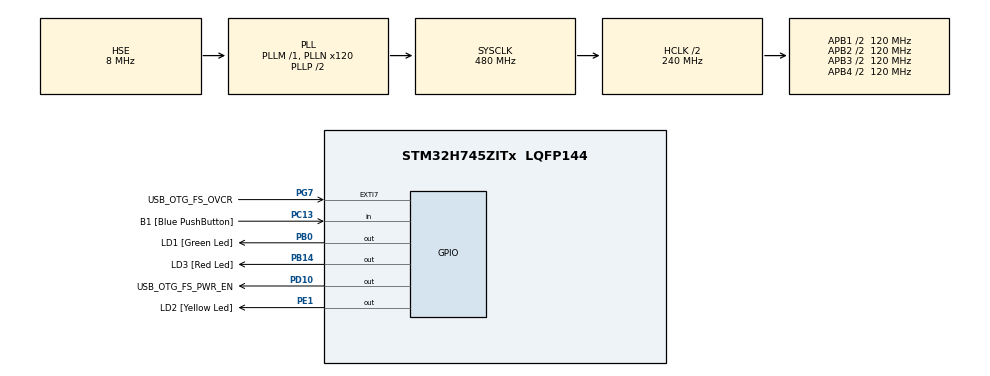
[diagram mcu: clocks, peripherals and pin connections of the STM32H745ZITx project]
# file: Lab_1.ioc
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CortexM4.IPs=FATFS_M4\:I,FREERTOS_M4\:I,IWDG2\:I,RCC,WWDG2\:I,DMA,BDMA,MDMA,NVIC2\:I,DEBUG,USB_DEVICE_M4\:I,USB_HOST_M4\:I,PDM2PCM_M4\:I,PWR,RESMGR_UTILITY,SYS_M4\:I,CORTEX_M4\:I,OPENAMP_M4\:I,VREFBUF,GPIO
CortexM7.IPs=FATFS_M7\:I,FREERTOS_M7\:I,IWDG1\:I,RCC\:I,WWDG1\:I,DMA\:I,BDMA\:I,MDMA\:I,NVIC1\:I,SYS\:I,CORTEX_M7\:I,DEBUG\:I,USB_DEVICE_M7\:I,USB_HOST_M7\:I,PDM2PCM_M7\:I,PWR\:I,RESMGR_UTILITY\:I,OPENAMP_M7\:I,VREFBUF\:I,GPIO\:I
CortexM7.Pins=PC13,PB0,PB14,PE1
Mcu.Family=STM32H7
Mcu.Name=STM32H745ZITx
Mcu.Package=LQFP144
NVIC1.PriorityGroup=NVIC_PRIORITYGROUP_4
NVIC2.PriorityGroup=NVIC_PRIORITYGROUP_4
PA1.PinAttribute=CortexM7
PA1.Signal=ETH_REF_CLK
PA11.PinAttribute=CortexM7
PA11.Signal=USB_OTG_FS_DM
PA12.PinAttribute=CortexM7
PA12.Signal=USB_OTG_FS_DP
PA2.PinAttribute=CortexM7
PA2.Signal=ETH_MDIO
PA7.PinAttribute=CortexM7
PA7.Signal=ETH_CRS_DV
PA8.PinAttribute=CortexM7
PA8.Signal=USB_OTG_FS_SOF
PA9.PinAttribute=CortexM7
PA9.Signal=USB_OTG_FS_VBUS
PB0.GPIO_Label=LD1 [Green Led]
PB0.GPIO_PuPd=GPIO_PULLUP
PB0.GPIO_Speed=GPIO_SPEED_FREQ_HIGH
PB0.PinAttribute=CortexM7
PB0.PinState=GPIO_PIN_RESET
PB0.Signal=GPIO_Output
PB13.PinAttribute=CortexM7
PB13.Signal=ETH_TXD1
PB14.GPIO_Label=LD3 [Red Led]
PB14.GPIO_PuPd=GPIO_PULLUP
PB14.GPIO_Speed=GPIO_SPEED_FREQ_HIGH
PB14.PinAttribute=CortexM7
PB14.PinState=GPIO_PIN_RESET
PB14.Signal=GPIO_Output
PC1.PinAttribute=CortexM7
PC1.Signal=ETH_MDC
PC13.GPIO_Label=B1 [Blue PushButton]
PC13.GPIO_PuPd=GPIO_PULLDOWN
PC13.PinAttribute=CortexM7
PC13.Signal=GPIO_Input
PC14-OSC32_IN\ (OSC32_IN).Mode=LSE-External-Oscillator
PC14-OSC32_IN\ (OSC32_IN).PinAttribute=CortexM7
PC14-OSC32_IN\ (OSC32_IN).Signal=RCC_OSC32_IN
PC15-OSC32_OUT\ (OSC32_OUT).Mode=LSE-External-Oscillator
PC15-OSC32_OUT\ (OSC32_OUT).PinAttribute=CortexM7
PC15-OSC32_OUT\ (OSC32_OUT).Signal=RCC_OSC32_OUT
PC4.PinAttribute=CortexM7
PC4.Signal=ETH_RXD0
PC5.PinAttribute=CortexM7
PC5.Signal=ETH_RXD1
PD10.GPIO_Label=USB_OTG_FS_PWR_EN
PD10.PinAttribute=Free
PD10.Signal=GPIO_Output
PD8.GPIO_Label=STLINK_RX
PD8.PinAttribute=CortexM7
PD8.Signal=USART3_TX
PD9.GPIO_Label=STLINK_TX
PD9.PinAttribute=CortexM7
PD9.Signal=USART3_RX
PE1.GPIO_Label=LD2 [Yellow Led]
PE1.GPIO_PuPd=GPIO_PULLUP
PE1.GPIO_Speed=GPIO_SPEED_FREQ_HIGH
PE1.PinAttribute=CortexM7
PE1.PinState=GPIO_PIN_RESET
PE1.Signal=GPIO_Output
PG11.PinAttribute=CortexM7
PG11.Signal=ETH_TX_EN
PG13.PinAttribute=CortexM7
PG13.Signal=ETH_TXD0
PG7.GPIO_Label=USB_OTG_FS_OVCR
PG7.PinAttribute=Free
PG7.Signal=GPXTI7
PH0-OSC_IN\ (PH0).Mode=HSE-External-Clock-Source
PH0-OSC_IN\ (PH0).PinAttribute=CortexM7
PH0-OSC_IN\ (PH0).Signal=RCC_OSC_IN
PH1-OSC_OUT\ (PH1).PinAttribute=CortexM7
PH1-OSC_OUT\ (PH1).Signal=RCC_OSC_OUT
ProjectManager.HeapSize=M4-0x200,M7-0x200
ProjectManager.StackSize=M4-0x400,M7-0x400
ProjectManager.TargetToolchain=STM32CubeIDE
RCC.ADCFreq_Value=16125000
RCC.APB1Freq_Value=120000000
RCC.APB2Freq_Value=120000000
RCC.APB3Freq_Value=120000000
RCC.APB4Freq_Value=120000000
RCC.CortexFreq_Value=480000000
RCC.D1PPRE=RCC_APB3_DIV2
RCC.D2PPRE1=RCC_APB1_DIV2
RCC.D2PPRE2=RCC_APB2_DIV2
RCC.D3PPRE=RCC_APB4_DIV2
RCC.DIVM1=1
RCC.DIVM3=1
RCC.DIVN1=120
RCC.DIVN3=24
RCC.DIVQ3=4
RCC.HCLKFreq_Value=240000000
RCC.HPRE=RCC_HCLK_DIV2
RCC.HSE_VALUE=8000000
RCC.PLL2FRACN=0
RCC.PLL3FRACN=0
RCC.PLLFRACN=0
RCC.PLLSourceVirtual=RCC_PLLSOURCE_HSE
RCC.SYSCLKFreq_VALUE=480000000
RCC.SYSCLKSource=RCC_SYSCLKSOURCE_PLLCLK
RCC.SupplySource=PWR_DIRECT_SMPS_SUPPLY
RCC.USBCLockSelection=RCC_USBCLKSOURCE_PLL3
RCC.USBFreq_Value=48000000
VP_SYS_M4_VS_Systick.Mode=SysTick
board=NUCLEO-H745ZI-Q

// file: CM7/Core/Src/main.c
/* USER CODE BEGIN Header */
/**
  ******************************************************************************
  * @file           : main.c
  * @brief          : Main program body
  ******************************************************************************
  * @attention
  *
  * Copyright (c) 2022 STMicroelectronics.
  * All rights reserved.
  *
  * This software is licensed under terms that can be found in the LICENSE file
  * in the root directory of this software component.
  * If no LICENSE file comes with this software, it is provided AS-IS.
  *
  ******************************************************************************
  */
/* USER CODE END Header */
#include "main.h"

/* USER CODE BEGIN PD */

#ifndef HSEM_ID_0
#define HSEM_ID_0 (0U) /* HW semaphore 0*/
#endif
/* USER CODE END PD */

void SystemClock_Config(void);
static void MX_GPIO_Init(void);

/* USER CODE BEGIN 0 */
uint8_t estado = 0;
/* USER CODE END 0 */

int main(void)
{
/* USER CODE BEGIN Boot_Mode_Sequence_0 */
  int32_t timeout;
/* USER CODE END Boot_Mode_Sequence_0 */

/* USER CODE BEGIN Boot_Mode_Sequence_1 */
  /* Wait until CPU2 boots and enters in stop mode or timeout*/
  timeout = 0xFFFF;
  while((__HAL_RCC_GET_FLAG(RCC_FLAG_D2CKRDY) != RESET) && (timeout-- > 0));
  if ( timeout < 0 )
  {
  Error_Handler();
  }
/* USER CODE END Boot_Mode_Sequence_1 */
  /* MCU Configuration--------------------------------------------------------*/

  /* Reset of all peripherals, Initializes the Flash interface and the Systick. */
  HAL_Init();

  /* Configure the system clock */
  SystemClock_Config();
/* USER CODE BEGIN Boot_Mode_Sequence_2 */
/* When system initialization is finished, Cortex-M7 will release Cortex-M4 by means of
HSEM notification */
/*HW semaphore Clock enable*/
__HAL_RCC_HSEM_CLK_ENABLE();
/*Take HSEM */
HAL_HSEM_FastTake(HSEM_ID_0);
/*Release HSEM in order to notify the CPU2(CM4)*/
HAL_HSEM_Release(HSEM_ID_0,0);
/* wait until CPU2 wakes up from stop mode */
timeout = 0xFFFF;
while((__HAL_RCC_GET_FLAG(RCC_FLAG_D2CKRDY) == RESET) && (timeout-- > 0));
if ( timeout < 0 )
{
Error_Handler();
}
/* USER CODE END Boot_Mode_Sequence_2 */

  /* Initialize all configured peripherals */
  MX_GPIO_Init();

  /* Infinite loop */
  while (1)
  {

    /* USER CODE BEGIN 3 */

	  /*
	  HAL_GPIO_TogglePin(GPIOB, GPIO_PIN_0);
	  HAL_Delay(100);
	  HAL_GPIO_TogglePin(GPIOE, GPIO_PIN_1);
	  HAL_Delay(100);
	  HAL_GPIO_TogglePin(GPIOB, GPIO_PIN_14);
	  HAL_Delay(100);
	  HAL_GPIO_TogglePin(GPIOB, GPIO_PIN_0);
	  HAL_Delay(100);
	  HAL_GPIO_TogglePin(GPIOE, GPIO_PIN_1);
	  HAL_Delay(100);
	  HAL_GPIO_TogglePin(GPIOB, GPIO_PIN_14);
	  HAL_Delay(100)
	  */

	  if(HAL_GPIO_ReadPin(GPIOC, GPIO_PIN_13) == 1){
		  HAL_Delay(10);
		  if(HAL_GPIO_ReadPin(GPIOC, GPIO_PIN_13) == 1){
			  HAL_GPIO_WritePin(GPIOB, GPIO_PIN_0, 0);
			  HAL_GPIO_WritePin(GPIOE, GPIO_PIN_1, 0);
			  HAL_GPIO_WritePin(GPIOB, GPIO_PIN_14, 0);
			  HAL_Delay(250);
			  estado++;
		  }
	  }

	 if(estado == 1){
		  HAL_GPIO_TogglePin(GPIOB, GPIO_PIN_0);
		  HAL_Delay(250);
		  HAL_GPIO_TogglePin(GPIOE, GPIO_PIN_1);
		  HAL_Delay(250);
		  HAL_GPIO_TogglePin(GPIOB, GPIO_PIN_14);
		  HAL_Delay(250);
	  } else if(estado == 2){
		  HAL_GPIO_TogglePin(GPIOB, GPIO_PIN_14);
		  HAL_Delay(250);
		  HAL_GPIO_TogglePin(GPIOE, GPIO_PIN_1);
		  HAL_Delay(250);
		  HAL_GPIO_TogglePin(GPIOB, GPIO_PIN_0);
		  HAL_Delay(250);
	  } else if(estado == 3){
		  //V&A
		  HAL_GPIO_WritePin(GPIOB, GPIO_PIN_0, 1);
		  HAL_GPIO_WritePin(GPIOE, GPIO_PIN_1, 1);
		  HAL_GPIO_WritePin(GPIOB, GPIO_PIN_14, 0);
		  HAL_Delay(1000);

		  //A&R
		  HAL_GPIO_WritePin(GPIOB, GPIO_PIN_14, 1);
		  HAL_GPIO_WritePin(GPIOB, GPIO_PIN_0, 0);
		  HAL_GPIO_WritePin(GPIOE, GPIO_PIN_1, 1);
		  HAL_Delay(1000);

		  //R&A
		  HAL_GPIO_WritePin(GPIOB, GPIO_PIN_0, 1);
		  HAL_GPIO_WritePin(GPIOE, GPIO_PIN_1, 0);
		  HAL_GPIO_WritePin(GPIOB, GPIO_PIN_14, 1);
		  HAL_Delay(1000);
	  } else{
		  HAL_GPIO_WritePin(GPIOB, GPIO_PIN_0, 0);
		  HAL_GPIO_WritePin(GPIOE, GPIO_PIN_1, 0);
		  HAL_GPIO_WritePin(GPIOB, GPIO_PIN_14, 0);
		  HAL_Delay(250);
		  estado = 0;
	  }

  }
  /* USER CODE END 3 */
}

void SystemClock_Config(void)
{
  RCC_OscInitTypeDef RCC_OscInitStruct = {0};
  RCC_ClkInitTypeDef RCC_ClkInitStruct = {0};

  /** Supply configuration update enable
  */
  HAL_PWREx_ConfigSupply(PWR_DIRECT_SMPS_SUPPLY);

  /** Configure the main internal regulator output voltage
  */
  __HAL_PWR_VOLTAGESCALING_CONFIG(PWR_REGULATOR_VOLTAGE_SCALE0);

  while(!__HAL_PWR_GET_FLAG(PWR_FLAG_VOSRDY)) {}

  /** Initializes the RCC Oscillators according to the specified parameters
  * in the RCC_OscInitTypeDef structure.
  */
  RCC_OscInitStruct.OscillatorType = RCC_OSCILLATORTYPE_HSE;
  RCC_OscInitStruct.HSEState = RCC_HSE_BYPASS;
  RCC_OscInitStruct.PLL.PLLState = RCC_PLL_ON;
  RCC_OscInitStruct.PLL.PLLSource = RCC_PLLSOURCE_HSE;
  RCC_OscInitStruct.PLL.PLLM = 1;
  RCC_OscInitStruct.PLL.PLLN = 120;
  RCC_OscInitStruct.PLL.PLLP = 2;
  RCC_OscInitStruct.PLL.PLLQ = 2;
  RCC_OscInitStruct.PLL.PLLR = 2;
  RCC_OscInitStruct.PLL.PLLRGE = RCC_PLL1VCIRANGE_3;
  RCC_OscInitStruct.PLL.PLLVCOSEL = RCC_PLL1VCOWIDE;
  RCC_OscInitStruct.PLL.PLLFRACN = 0;
  if (HAL_RCC_OscConfig(&RCC_OscInitStruct) != HAL_OK)
  {
    Error_Handler();
  }

  /** Initializes the CPU, AHB and APB buses clocks
  */
  RCC_ClkInitStruct.ClockType = RCC_CLOCKTYPE_HCLK|RCC_CLOCKTYPE_SYSCLK
                              |RCC_CLOCKTYPE_PCLK1|RCC_CLOCKTYPE_PCLK2
                              |RCC_CLOCKTYPE_D3PCLK1|RCC_CLOCKTYPE_D1PCLK1;
  RCC_ClkInitStruct.SYSCLKSource = RCC_SYSCLKSOURCE_PLLCLK;
  RCC_ClkInitStruct.SYSCLKDivider = RCC_SYSCLK_DIV1;
  RCC_ClkInitStruct.AHBCLKDivider = RCC_HCLK_DIV2;
  RCC_ClkInitStruct.APB3CLKDivider = RCC_APB3_DIV2;
  RCC_ClkInitStruct.APB1CLKDivider = RCC_APB1_DIV2;
  RCC_ClkInitStruct.APB2CLKDivider = RCC_APB2_DIV2;
  RCC_ClkInitStruct.APB4CLKDivider = RCC_APB4_DIV2;

  if (HAL_RCC_ClockConfig(&RCC_ClkInitStruct, FLASH_LATENCY_4) != HAL_OK)
  {
    Error_Handler();
  }
}

static void MX_GPIO_Init(void)
{
  GPIO_InitTypeDef GPIO_InitStruct = {0};

  /* GPIO Ports Clock Enable */
  __HAL_RCC_GPIOC_CLK_ENABLE();
  __HAL_RCC_GPIOH_CLK_ENABLE();
  __HAL_RCC_GPIOB_CLK_ENABLE();
  __HAL_RCC_GPIOE_CLK_ENABLE();

  /*Configure GPIO pin Output Level */
  HAL_GPIO_WritePin(GPIOB, LD1_Pin|LD3_Pin, GPIO_PIN_RESET);

  /*Configure GPIO pin Output Level */
  HAL_GPIO_WritePin(LD2_GPIO_Port, LD2_Pin, GPIO_PIN_RESET);

  /*Configure GPIO pin : B1_Pin */
  GPIO_InitStruct.Pin = B1_Pin;
  GPIO_InitStruct.Mode = GPIO_MODE_INPUT;
  GPIO_InitStruct.Pull = GPIO_PULLDOWN;
  HAL_GPIO_Init(B1_GPIO_Port, &GPIO_InitStruct);

  /*Configure GPIO pins : LD1_Pin LD3_Pin */
  GPIO_InitStruct.Pin = LD1_Pin|LD3_Pin;
  GPIO_InitStruct.Mode = GPIO_MODE_OUTPUT_PP;
  GPIO_InitStruct.Pull = GPIO_PULLUP;
  GPIO_InitStruct.Speed = GPIO_SPEED_FREQ_HIGH;
  HAL_GPIO_Init(GPIOB, &GPIO_InitStruct);

  /*Configure GPIO pin : LD2_Pin */
  GPIO_InitStruct.Pin = LD2_Pin;
  GPIO_InitStruct.Mode = GPIO_MODE_OUTPUT_PP;
  GPIO_InitStruct.Pull = GPIO_PULLUP;
  GPIO_InitStruct.Speed = GPIO_SPEED_FREQ_HIGH;
  HAL_GPIO_Init(LD2_GPIO_Port, &GPIO_InitStruct);

}

void Error_Handler(void)
{
  __disable_irq();
  while (1)
  {
  }
}
